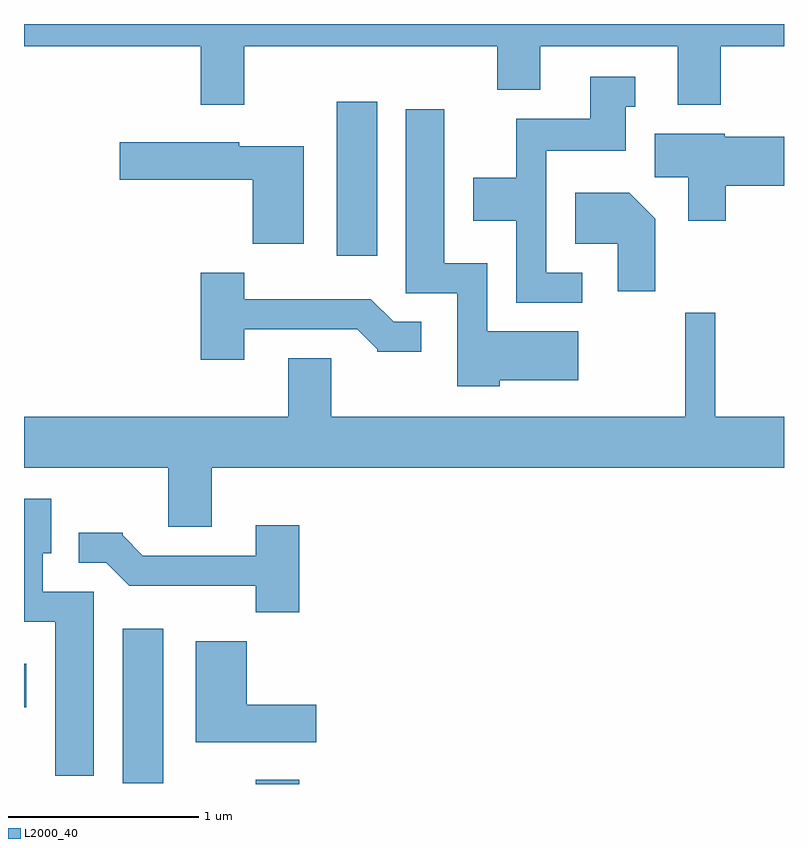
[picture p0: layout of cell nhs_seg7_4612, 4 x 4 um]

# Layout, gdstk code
import gdstk
lib = gdstk.Library(unit=1e-6, precision=1e-09)
def R(c, l, rs):  # rectangles x0, y0, x1, y1
    for r in rs: c.add(gdstk.rectangle(r[:2], r[2:], *l))
def P(c, l, *ps):  # polygons
    for p in ps: c.add(gdstk.Polygon(p, *l))
L2000_40 = (2000, 40)

nhs_seg7_4612 = lib.new_cell('nhs_seg7_4612')
R(nhs_seg7_4612, L2000_40, [(328.831,1668.252,329.059,1668.274), (328.131,1668.256,328.344,1669.069), (327.611,1668.656,327.624,1668.884), (329.256,1671.031,329.469,1671.844)])
P(nhs_seg7_4612, L2000_40, [(328.769,1672.136),(330.101,1672.136),(330.101,1671.906),(330.329,1671.906),(330.329,1672.136),(331.051,1672.136),(331.051,1671.826),(331.279,1671.826),(331.279,1672.136),(331.611,1672.136),(331.611,1672.252),(327.611,1672.252),(327.611,1672.136),(328.541,1672.136),(328.541,1671.826),(328.769,1671.826)],
  [(330.548,1670.944),(330.359,1670.944),(330.359,1671.586),(330.779,1671.586),(330.779,1671.816),(330.828,1671.816),(330.828,1671.974),(330.591,1671.974),(330.591,1671.754),(330.201,1671.754),(330.201,1671.444),(329.976,1671.444),(329.976,1671.216),(330.201,1671.216),(330.201,1670.786),(330.548,1670.786)],
  [(330.114,1670.376),(330.529,1670.376),(330.529,1670.634),(330.049,1670.634),(330.049,1670.994),(329.824,1670.994),(329.824,1671.804),(329.621,1671.804),(329.621,1670.836),(329.891,1670.836),(329.891,1670.346),(330.114,1670.346)],
  [(331.304,1671.401),(331.611,1671.401),(331.611,1671.659),(331.3,1671.659),(331.3,1671.674),(330.931,1671.674),(330.931,1671.446),(331.106,1671.446),(331.106,1671.216),(331.304,1671.216)],
  [(329.084,1671.609),(328.744,1671.609),(328.744,1671.629),(328.116,1671.629),(328.116,1671.431),(328.816,1671.431),(328.816,1671.096),(329.084,1671.096)],
  [(330.934,1671.227),(330.797,1671.364),(330.511,1671.364),(330.511,1671.096),(330.736,1671.096),(330.736,1670.846),(330.934,1670.846)],
  [(328.769,1670.646),(329.364,1670.646),(329.47,1670.54),(329.47,1670.526),(329.703,1670.526),(329.703,1670.684),(329.557,1670.684),(329.437,1670.804),(328.769,1670.804),(328.769,1670.944),(328.541,1670.944),(328.541,1670.486),(328.769,1670.486)],
  [(328.599,1669.916),(331.611,1669.916),(331.611,1670.184),(331.249,1670.184),(331.249,1670.733),(331.091,1670.733),(331.091,1670.184),(329.229,1670.184),(329.229,1670.494),(329.001,1670.494),(329.001,1670.184),(327.611,1670.184),(327.611,1669.916),(328.371,1669.916),(328.371,1669.606),(328.599,1669.606)],
  [(327.979,1669.264),(327.709,1669.264),(327.709,1669.466),(327.754,1669.466),(327.754,1669.754),(327.611,1669.754),(327.611,1669.106),(327.776,1669.106),(327.776,1668.296),(327.979,1668.296)],
  [(329.059,1669.614),(328.831,1669.614),(328.831,1669.454),(328.237,1669.454),(328.13,1669.561),(328.13,1669.574),(327.898,1669.574),(327.898,1669.416),(328.044,1669.416),(328.164,1669.296),(328.831,1669.296),(328.831,1669.156),(329.059,1669.156)],
  [(329.149,1668.669),(328.784,1668.669),(328.784,1669.004),(328.516,1669.004),(328.516,1668.471),(329.149,1668.471)])

lib.write_gds('nhs_seg7_4612.gds')
